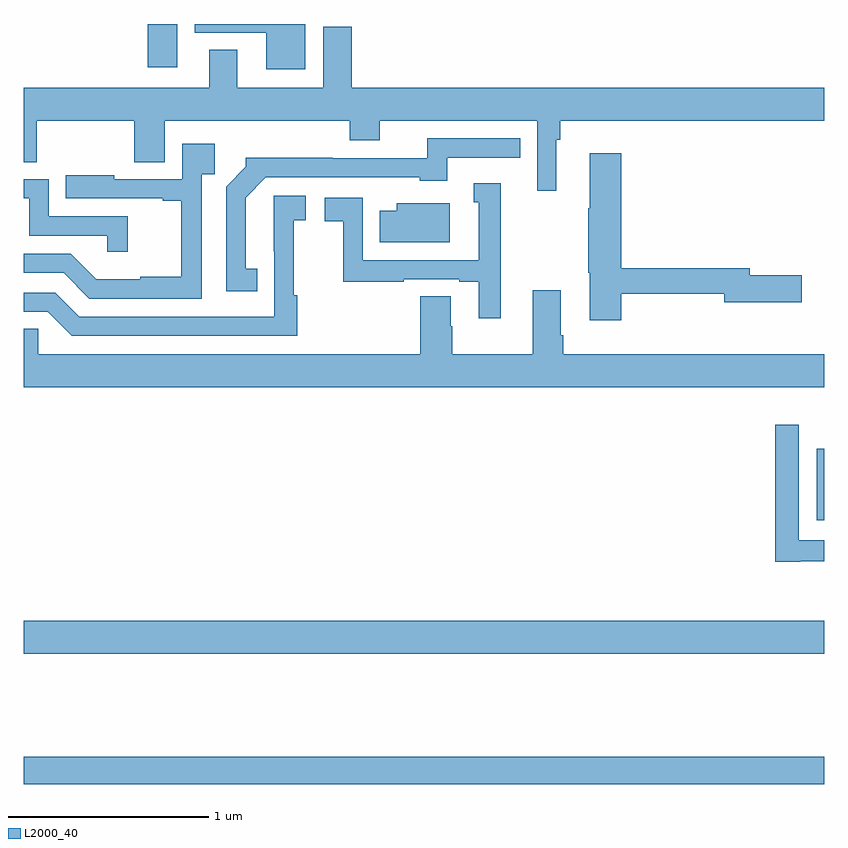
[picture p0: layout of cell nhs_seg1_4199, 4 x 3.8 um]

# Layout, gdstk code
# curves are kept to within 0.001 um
import gdstk
lib = gdstk.Library(unit=1e-6, precision=1e-09)
def R(c, l, rs):  # rectangles x0, y0, x1, y1
    for r in rs: c.add(gdstk.rectangle(r[:2], r[2:], *l))
def P(c, l, *ps):  # polygons
    for p in ps: c.add(gdstk.Polygon(p, *l))
L2000_40 = (2000, 40)

nhs_seg1_4199 = lib.new_cell('nhs_seg1_4199')
R(nhs_seg1_4199, L2000_40, [(339,564.4,343,564.536), (339,565.052,343,565.216), (342.962,565.718,343,566.077), (339.62,567.984,339.766,568.199)])
P(nhs_seg1_4199, L2000_40, [(340.407,568.199),(339.855,568.199),(339.855,568.155),(340.211,568.155),(340.211,567.974),(340.407,567.974)],
  [(341.662,567.62),(341.681,567.62),(341.681,567.716),(343,567.716),(343,567.88),(340.64,567.88),(340.64,568.185),(340.496,568.185),(340.496,567.88),(340.066,567.88),(340.066,568.07),(339.926,568.07),(339.926,567.88),(339,567.88),(339,567.508),(339.065,567.508),(339.065,567.716),(339.551,567.716),(339.551,567.508),(339.703,567.508),(339.703,567.716),(340.628,567.716),(340.628,567.617),(340.78,567.617),(340.78,567.716),(341.565,567.716),(341.565,567.366),(341.662,567.366)],
  [(340.166,566.975),(340.108,566.975),(340.108,567.331),(340.209,567.432),(340.98,567.432),(340.98,567.416),(341.116,567.416),(341.116,567.531),(341.48,567.531),(341.48,567.627),(341.017,567.627),(341.017,567.528),(340.544,567.528),(340.544,567.53),(340.11,567.53),(340.11,567.485),(340.011,567.386),(340.011,566.862),(340.166,566.862)],
  [(339.888,567.449),(339.953,567.449),(339.953,567.601),(339.792,567.601),(339.792,567.423),(339.451,567.423),(339.451,567.442),(339.208,567.442),(339.208,567.327),(339.695,567.327),(339.695,567.315),(339.787,567.315),(339.787,566.935),(339.581,566.935),(339.581,566.923),(339.362,566.923),(339.234,567.051),(339,567.051),(339,566.955),(339.198,566.955),(339.327,566.826),(339.888,566.826)],
  [(341.987,566.85),(342.5,566.85),(342.5,566.807),(342.889,566.807),(342.889,566.942),(342.628,566.942),(342.628,566.978),(341.987,566.978),(341.987,567.553),(341.828,567.553),(341.828,567.278),(341.821,567.278),(341.821,566.955),(341.828,566.955),(341.828,566.718),(341.987,566.718)],
  [(339.518,567.237),(339.123,567.237),(339.123,567.423),(339,567.423),(339,567.327),(339.027,567.327),(339.027,567.141),(339.417,567.141),(339.417,567.06),(339.518,567.06)],
  [(341.383,567.403),(341.249,567.403),(341.249,567.309),(341.273,567.309),(341.273,567.018),(340.695,567.018),(340.695,567.33),(340.503,567.33),(340.503,567.214),(340.597,567.214),(340.597,566.91),(340.898,566.91),(340.898,566.922),(341.177,566.922),(341.177,566.91),(341.273,566.91),(341.273,566.727),(341.383,566.727)],
  [(340.367,566.843),(340.35,566.843),(340.35,567.219),(340.408,567.219),(340.408,567.34),(340.25,567.34),(340.251,566.736),(339.276,566.736),(339.156,566.856),(339,566.856),(339,566.76),(339.12,566.76),(339.24,566.64),(340.367,566.64)],
  [(341.128,567.304),(340.865,567.304),(340.865,567.265),(340.78,567.265),(340.78,567.107),(341.128,567.107)],
  [(343,566.548),(341.696,566.548),(341.696,566.644),(341.683,566.644),(341.683,566.869),(341.543,566.869),(341.543,566.548),(341.142,566.548),(341.142,566.687),(341.134,566.687),(341.134,566.837),(340.982,566.837),(340.982,566.548),(339.072,566.548),(339.072,566.675),(339,566.675),(339,566.384),(343,566.384)],
  [(342.88,565.514),(343,565.514),(343,565.618),(342.873,565.618),(342.873,566.197),(342.757,566.197),(342.757,565.512),(342.88,565.512)])

lib.write_gds('nhs_seg1_4199.gds')
